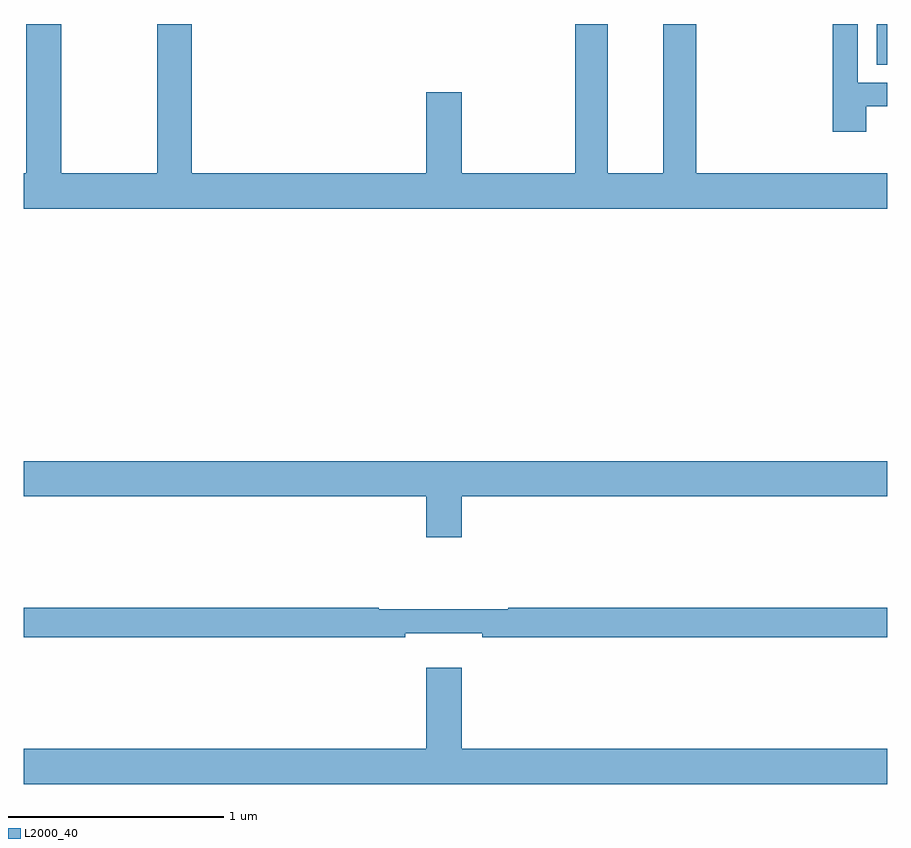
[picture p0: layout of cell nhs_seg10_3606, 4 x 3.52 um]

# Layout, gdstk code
import gdstk
lib = gdstk.Library(unit=1e-6, precision=1e-09)
def R(c, l, rs):  # rectangles x0, y0, x1, y1
    for r in rs: c.add(gdstk.rectangle(r[:2], r[2:], *l))
def P(c, l, *ps):  # polygons
    for p in ps: c.add(gdstk.Polygon(p, *l))
L2000_40 = (2000, 40)

nhs_seg10_3606 = lib.new_cell('nhs_seg10_3606')
R(nhs_seg10_3606, L2000_40, [(310.952,1306.312,311,1306.5)])
P(nhs_seg10_3606, L2000_40, [(311,1305.808),(310.115,1305.808),(310.115,1306.5),(309.962,1306.5),(309.962,1305.808),(309.706,1305.808),(309.706,1306.5),(309.554,1306.5),(309.554,1305.808),(309.028,1305.808),(309.028,1306.183),(308.864,1306.183),(308.864,1305.808),(307.778,1305.808),(307.778,1306.5),(307.618,1306.5),(307.618,1305.808),(307.173,1305.808),(307.173,1306.5),(307.013,1306.5),(307.013,1305.808),(307,1305.808),(307,1305.644),(311,1305.644)],
  [(310.903,1306.119),(310.999,1306.119),(310.999,1306.131),(311,1306.131),(311,1306.227),(310.863,1306.227),(310.863,1306.5),(310.747,1306.5),(310.747,1306.002),(310.903,1306.002)],
  [(309.028,1304.312),(311,1304.312),(311,1304.476),(307,1304.476),(307,1304.312),(308.864,1304.312),(308.864,1304.124),(309.028,1304.124)],
  [(308.768,1303.679),(309.124,1303.679),(309.124,1303.66),(311,1303.66),(311,1303.796),(309.244,1303.796),(309.244,1303.789),(308.644,1303.789),(308.644,1303.796),(307,1303.796),(307,1303.66),(308.768,1303.66)],
  [(311,1303.144),(309.028,1303.144),(309.028,1303.519),(308.864,1303.519),(308.864,1303.144),(307,1303.144),(307,1302.98),(311,1302.98)])

lib.write_gds('nhs_seg10_3606.gds')
